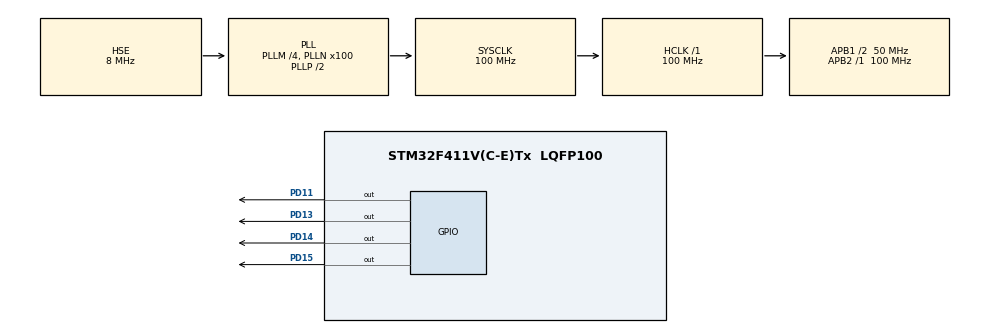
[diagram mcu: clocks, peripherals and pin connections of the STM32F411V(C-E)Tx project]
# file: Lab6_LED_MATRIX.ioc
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Mcu.Family=STM32F4
Mcu.Name=STM32F411V(C-E)Tx
Mcu.Package=LQFP100
NVIC.PriorityGroup=NVIC_PRIORITYGROUP_4
PA13.Mode=Serial_Wire
PA13.Signal=SYS_JTMS-SWDIO
PA14.Mode=Serial_Wire
PA14.Signal=SYS_JTCK-SWCLK
PD11.Signal=GPIO_Output
PD13.GPIO_Speed=GPIO_SPEED_FREQ_LOW
PD13.Signal=GPIO_Output
PD14.GPIO_Speed=GPIO_SPEED_FREQ_LOW
PD14.Signal=GPIO_Output
PD15.GPIO_Speed=GPIO_SPEED_FREQ_LOW
PD15.Signal=GPIO_Output
PH0\ -\ OSC_IN.Mode=HSE-External-Oscillator
PH0\ -\ OSC_IN.Signal=RCC_OSC_IN
PH1\ -\ OSC_OUT.Mode=HSE-External-Oscillator
PH1\ -\ OSC_OUT.Signal=RCC_OSC_OUT
ProjectManager.HeapSize=0x200
ProjectManager.StackSize=0x400
ProjectManager.TargetToolchain=STM32CubeIDE
RCC.48MHZClocksFreq_Value=50000000
RCC.AHBFreq_Value=100000000
RCC.APB1CLKDivider=RCC_HCLK_DIV2
RCC.APB1Freq_Value=50000000
RCC.APB1TimFreq_Value=100000000
RCC.APB2Freq_Value=100000000
RCC.APB2TimFreq_Value=100000000
RCC.CortexFreq_Value=100000000
RCC.HCLKFreq_Value=100000000
RCC.HSE_VALUE=8000000
RCC.HSI_VALUE=16000000
RCC.LSE_VALUE=32768
RCC.PLLM=4
RCC.PLLN=100
RCC.PLLSourceVirtual=RCC_PLLSOURCE_HSE
RCC.SYSCLKFreq_VALUE=100000000
RCC.SYSCLKSource=RCC_SYSCLKSOURCE_PLLCLK
RCC.VCOOutputFreq_Value=200000000
board=custom

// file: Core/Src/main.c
/* USER CODE BEGIN Header */
/**
  ******************************************************************************
  * @file           : main.c
  * @brief          : Main program body
  ******************************************************************************
  * @attention
  *
  * Copyright (c) 2022 STMicroelectronics.
  * All rights reserved.
  *
  * This software is licensed under terms that can be found in the LICENSE file
  * in the root directory of this software component.
  * If no LICENSE file comes with this software, it is provided AS-IS.
  *
  ******************************************************************************
  */
/* USER CODE END Header */
#include "main.h"

/* USER CODE BEGIN Includes */
#include <stdio.h>
#include <string.h>
/* USER CODE END Includes */

/* USER CODE BEGIN PD */
#define CLK_GPIO GPIOD
#define CLK_PIN GPIO_PIN_11

#define LATCH_GPIO GPIOD
#define LATCH_PIN GPIO_PIN_13

#define DATA_GPIO GPIOD
#define DATA_PIN GPIO_PIN_15
/* USER CODE END PD */

/* USER CODE BEGIN PV */

int rowsData[][8] = {
		{ 0xFF, 0xFF, 0xFF, 0xFF, 0xFF, 0xFF, 0xFF, 0xFF }, //  (space) 0
		{ 0xFF, 0x00, 0x7E, 0x7E, 0x7E, 0x00, 0xFF, 0xFF }, //	0
		{ 0xFF, 0xFF, 0xFF, 0xBF, 0x00, 0xFF, 0xFF, 0xFF }, //	1
		{ 0xFF, 0x60, 0x6E, 0x6E, 0x6E, 0x0E, 0xFF, 0xFF }, //	2
		{ 0xFF, 0x6E, 0x6E, 0x6E, 0x6E, 0x00, 0xFF, 0xFF }, //	3
		{ 0xFF, 0x0F, 0xEF, 0xEF, 0xEF, 0x00, 0xFF, 0xFF }, //	4
		{ 0xFF, 0x0E, 0x6E, 0x6E, 0x6E, 0x60, 0xFF, 0xFF }, //	5
		{ 0xFF, 0x00, 0x6E, 0x6E, 0x6E, 0x60, 0xFF, 0xFF }, //	6
		{ 0xFF, 0x7F, 0x7F, 0x70, 0x6F, 0x1F, 0xFF, 0xFF }, //	7
		{ 0xFF, 0x00, 0x6E, 0x6E, 0x6E, 0x00, 0xFF, 0xFF }, //	8
		{ 0xFF, 0x0E, 0x6E, 0x6E, 0x6E, 0x00, 0xFF, 0xFF }, //	9
		{ 0xFF, 0x80, 0x77, 0x77, 0x77, 0x80, 0xFF, 0xFF }, //  A
		{ 0xFF, 0x00, 0x6E, 0x6E, 0x6E, 0x91, 0xFF, 0xFF }, //	B
		{ 0xFF, 0x81, 0x7E, 0x7E, 0x7E, 0xBD, 0xFF, 0xFF }, //	C
		{ 0xFF, 0x00, 0x7E, 0x7E, 0x7E, 0x81, 0xFF, 0xFF }, //	D
		{ 0xFF, 0x00, 0x6E, 0x6E, 0x6E, 0x7E, 0xFF, 0xFF }, //	E
		{ 0xFF, 0x00, 0x6F, 0x6F, 0x6F, 0x7F, 0xFF, 0xFF }, //	F
		{ 0xFF, 0x81, 0x7E, 0x7A, 0x7A, 0xB9, 0xFF, 0xFF }, //	G
		{ 0xFF, 0x00, 0xF7, 0xF7, 0xF7, 0x00, 0xFF, 0xFF }, //	H
		{ 0xFF, 0xFF, 0x7E, 0x00, 0x7E, 0xFF, 0xFF, 0xFF }, //	I
		{ 0xFF, 0xF9, 0xFE, 0xFE, 0xFE, 0x01, 0xFF, 0xFF }, //	J
		{ 0xFF, 0x00, 0xE7, 0xDB, 0xBD, 0x7E, 0xFF, 0xFF }, //	K
		{ 0xFF, 0x00, 0xFE, 0xFE, 0xFE, 0xFE, 0xFF, 0xFF }, //	L
		{ 0xFF, 0x00, 0xBF, 0xDF, 0xBF, 0x00, 0xFF, 0xFF }, //	M
		{ 0xFF, 0x00, 0xDF, 0xEF, 0xF7, 0xFB, 0x00, 0xFF }, //	N
		{ 0xFF, 0x81, 0x7E, 0x7E, 0x7E, 0x81, 0xFF, 0xFF }, //	O
		{ 0xFF, 0x00, 0x77, 0x77, 0x77, 0x8F, 0xFF, 0xFF }, //	P
		{ 0xFF, 0x81, 0x7E, 0x7A, 0x7C, 0x80, 0xFF, 0xFF }, //	Q
		{ 0xFF, 0x80, 0x77, 0x73, 0x75, 0x8E, 0xFF, 0xFF }, //	R
		{ 0xFF, 0x9D, 0x6E, 0x6E, 0x6E, 0xB1, 0xFF, 0xFF }, //	S
		{ 0xFF, 0x7F, 0x7F, 0x00, 0x7F, 0x7F, 0xFF, 0xFF }, //	T
		{ 0xFF, 0x01, 0xFE, 0xFE, 0xFE, 0x01, 0xFF, 0xFF }, //	U
		{ 0xFF, 0x03, 0xFD, 0xFE, 0xFE, 0xFD, 0x03, 0xFF }, //	V
		{ 0xFF, 0x00, 0xFD, 0xFB, 0xFB, 0xFD, 0x00, 0xFF }, //	W
		{ 0xFF, 0x38, 0xD7, 0xEF, 0xEF, 0xD7, 0x38, 0xFF }, //	X
		{ 0xFF, 0x1F, 0xEF, 0xF0, 0xEF, 0x1F, 0xFF, 0xFF }, //	Y
		{ 0xFF, 0x7C, 0x7A, 0x76, 0x6E, 0x1E, 0xFF, 0xFF }, //	Z

		};
int colsSelect[8] = {0x80, 0x40, 0x20, 0x10, 0x08, 0x04, 0x02, 0x01};

//char charPrint[]="TRUONG BACH KHOA BO MON DIEN TU VIEN THONG NGANH KY THUAT MAY TINH";
char charPrint[]="CTU";
/* USER CODE END PV */

void SystemClock_Config(void);
static void MX_GPIO_Init(void);

/* USER CODE BEGIN 0 */
int delayA = 0;
int delayB = 2;
int delayC = 2;
void CLK()
{
	HAL_GPIO_WritePin(CLK_GPIO, CLK_PIN, GPIO_PIN_SET);
	HAL_GPIO_WritePin(CLK_GPIO, CLK_PIN, GPIO_PIN_RESET);
}

void LATCH()
{
	HAL_GPIO_WritePin(LATCH_GPIO, LATCH_PIN, GPIO_PIN_SET);
	HAL_GPIO_WritePin(LATCH_GPIO, LATCH_PIN, GPIO_PIN_RESET);
}

void DATA(int value)
{
	if(1==value)
	{
		HAL_GPIO_WritePin(DATA_GPIO, DATA_PIN, GPIO_PIN_SET);
	}
	else
	{
		HAL_GPIO_WritePin(DATA_GPIO, DATA_PIN, GPIO_PIN_RESET);
	}
	CLK();
}

void pushHEX(int hexValue)
{
	for (int i = 0; i < 8; i++) {
		if (hexValue & 0x01) {
			DATA(1);
		} else {
			DATA(0);
		}
		hexValue >>= 1;
	}
}

int checkHexValue(int getValue,char arrGet[]) {
	int resultHexValue = 0;
	if(getValue<0)
	{
		resultHexValue = 0;
	}
	else if(getValue>=strlen(arrGet))
	{
		resultHexValue = 0;
	}
	else
	{
		if( ((int)arrGet[getValue])>=48 && ((int)arrGet[getValue]) <=57)
		{
			resultHexValue = ((int)arrGet[getValue]) - 48 + 1;
		}
		else if( ((int)arrGet[getValue])>=65 && ((int)arrGet[getValue]) <=90)
		{
			resultHexValue = ((int)arrGet[getValue]) - 65 + 11;
		}
	}
	return resultHexValue;
}

void shiftDataLedMatrix(int hexOutLine, int hexLeft, int hexMid, int hexRight,
		char arrGet[]) {
	int positionMaHexOut = checkHexValue(hexOutLine, arrGet);
	int positionMaHexLeft = checkHexValue(hexLeft, arrGet);
	int positionMaHexMid = checkHexValue(hexMid, arrGet);
	int positionMaHexRigth = checkHexValue(hexRight, arrGet);
	int count = 0;

	for (int step = 0; step < 8; step++) {
		// This step get new Hex Value to Right Matrix Led
		for (int i = 0; i <= count; i++) {
			pushHEX(colsSelect[7 - step + i]);
			pushHEX(0x00);
			pushHEX(0x00);
			pushHEX(rowsData[positionMaHexRigth][i]);
			LATCH();
			HAL_Delay(delayA);
		}
		// This step push Hex Value form Old Right to Mid Matrix Led
		for (int j = 0; j < (7 - step); j++) {
			pushHEX(colsSelect[6 - j - step]);
			pushHEX(0x00);
			pushHEX(0x00);
			pushHEX(rowsData[positionMaHexMid][7 - j]);
			LATCH();
			HAL_Delay(delayA);
		}
		// This step get new Hex value from  Old Right to Mid Matrix Led
		for (int a = 0; a <= count; a++) {
			pushHEX(0x00);
			pushHEX(colsSelect[7 - step + a]);
			pushHEX(0x00);
			pushHEX(rowsData[positionMaHexMid][a]);
			LATCH();
			HAL_Delay(delayA);
		}
		// This step push Hex Value form Old Mid to Left Matrix Led
        for(int b = 0; b < (7-step); b++)
        {
          pushHEX(0x00);
          pushHEX(colsSelect[6-b-step]);
          pushHEX(0x00);
          pushHEX(rowsData[positionMaHexLeft][7-b]);
          LATCH();
          HAL_Delay(delayA);
        }
        // This step get new Hex value from  Old Mid to Left Matrix Led
        for(int c = 0;c<= count;c++)
        {
          pushHEX(0x00);
          pushHEX(0x00);
          pushHEX(colsSelect[7-step+c]);
          pushHEX(rowsData[positionMaHexLeft][c]);
          LATCH();
          HAL_Delay(delayA);
        }
        // This step push Hex Value form Old Left to Get out of Matrix Led
		for (int d = 0; d < (7 - step); d++) {
			pushHEX(0x00);
			pushHEX(0x00);
			pushHEX(colsSelect[6 - d - step]);
			pushHEX(rowsData[positionMaHexOut][7 - d]);
			LATCH();
			HAL_Delay(delayA);
		}
		count++;
		HAL_Delay(delayB);
	}

}

void displayshiftMatrix(char arrGet[]) {
	int lenghtOfString = strlen(arrGet);
	for (int i = 0; i < lenghtOfString + 2; i++) {
		shiftDataLedMatrix(i - 3, i - 2, i - 1, i, arrGet);
		HAL_Delay(delayC);
	}
}

void displayStandStillMatrix(char arrGet[]) {

	int positionMaHexLeft = checkHexValue(2, arrGet);
	int positionMaHexMid = checkHexValue(1, arrGet);
	int positionMaHexRigth = checkHexValue(0, arrGet);
	for (int i = 7; i >= 0; i--) {
		pushHEX(colsSelect[i]);
		pushHEX(0x00);
		pushHEX(0x00);
		pushHEX(rowsData[positionMaHexLeft][i]);
		LATCH();
		HAL_Delay(delayA);
	}
	for (int i = 7; i >= 0; i--) {
		pushHEX(0x00);
		pushHEX(colsSelect[i]);
		pushHEX(0x00);
		pushHEX(rowsData[positionMaHexMid][i]);
		LATCH();
		HAL_Delay(delayA);
	}
	for (int i = 7; i >= 0; i--) {

		pushHEX(0x00);
		pushHEX(0x00);
		pushHEX(colsSelect[i]);
		pushHEX(rowsData[positionMaHexRigth][i]);
		LATCH();
		HAL_Delay(delayA);
	}
}
/* USER CODE END 0 */

int main(void)
{

  /* MCU Configuration--------------------------------------------------------*/

  /* Reset of all peripherals, Initializes the Flash interface and the Systick. */
  HAL_Init();

  /* Configure the system clock */
  SystemClock_Config();

  /* Initialize all configured peripherals */
  MX_GPIO_Init();

  /* Infinite loop */
  /* USER CODE BEGIN WHILE */
  while (1)
  {
	  displayshiftMatrix(charPrint);
	  //displayStandStillMatrix("CTU");

    /* USER CODE END WHILE */

  }
}

void SystemClock_Config(void)
{
  RCC_OscInitTypeDef RCC_OscInitStruct = {0};
  RCC_ClkInitTypeDef RCC_ClkInitStruct = {0};

  /** Configure the main internal regulator output voltage
  */
  __HAL_RCC_PWR_CLK_ENABLE();
  __HAL_PWR_VOLTAGESCALING_CONFIG(PWR_REGULATOR_VOLTAGE_SCALE1);

  /** Initializes the RCC Oscillators according to the specified parameters
  * in the RCC_OscInitTypeDef structure.
  */
  RCC_OscInitStruct.OscillatorType = RCC_OSCILLATORTYPE_HSE;
  RCC_OscInitStruct.HSEState = RCC_HSE_ON;
  RCC_OscInitStruct.PLL.PLLState = RCC_PLL_ON;
  RCC_OscInitStruct.PLL.PLLSource = RCC_PLLSOURCE_HSE;
  RCC_OscInitStruct.PLL.PLLM = 4;
  RCC_OscInitStruct.PLL.PLLN = 100;
  RCC_OscInitStruct.PLL.PLLP = RCC_PLLP_DIV2;
  RCC_OscInitStruct.PLL.PLLQ = 4;
  if (HAL_RCC_OscConfig(&RCC_OscInitStruct) != HAL_OK)
  {
    Error_Handler();
  }

  /** Initializes the CPU, AHB and APB buses clocks
  */
  RCC_ClkInitStruct.ClockType = RCC_CLOCKTYPE_HCLK|RCC_CLOCKTYPE_SYSCLK
                              |RCC_CLOCKTYPE_PCLK1|RCC_CLOCKTYPE_PCLK2;
  RCC_ClkInitStruct.SYSCLKSource = RCC_SYSCLKSOURCE_PLLCLK;
  RCC_ClkInitStruct.AHBCLKDivider = RCC_SYSCLK_DIV1;
  RCC_ClkInitStruct.APB1CLKDivider = RCC_HCLK_DIV2;
  RCC_ClkInitStruct.APB2CLKDivider = RCC_HCLK_DIV1;

  if (HAL_RCC_ClockConfig(&RCC_ClkInitStruct, FLASH_LATENCY_3) != HAL_OK)
  {
    Error_Handler();
  }
}

static void MX_GPIO_Init(void)
{
  GPIO_InitTypeDef GPIO_InitStruct = {0};

  /* GPIO Ports Clock Enable */
  __HAL_RCC_GPIOH_CLK_ENABLE();
  __HAL_RCC_GPIOD_CLK_ENABLE();
  __HAL_RCC_GPIOA_CLK_ENABLE();

  /*Configure GPIO pin Output Level */
  HAL_GPIO_WritePin(GPIOD, GPIO_PIN_11|GPIO_PIN_13|GPIO_PIN_14|GPIO_PIN_15, GPIO_PIN_RESET);

  /*Configure GPIO pins : PD11 PD13 PD14 PD15 */
  GPIO_InitStruct.Pin = GPIO_PIN_11|GPIO_PIN_13|GPIO_PIN_14|GPIO_PIN_15;
  GPIO_InitStruct.Mode = GPIO_MODE_OUTPUT_PP;
  GPIO_InitStruct.Pull = GPIO_NOPULL;
  GPIO_InitStruct.Speed = GPIO_SPEED_FREQ_LOW;
  HAL_GPIO_Init(GPIOD, &GPIO_InitStruct);

}

void Error_Handler(void)
{
  __disable_irq();
  while (1)
  {
  }
}
